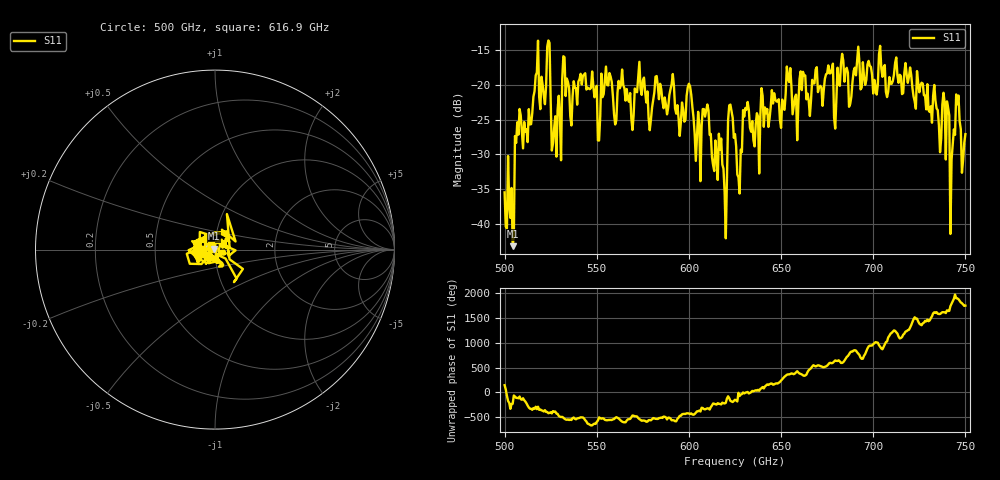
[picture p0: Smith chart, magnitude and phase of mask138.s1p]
!Created with skrf (http://scikit-rf.org).
# GHz S MA R 50.0
!freq magS11 angS11
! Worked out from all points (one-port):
!   401 points, 500 GHz to 750 GHz, reference 50 ohm
!   lowest |S11| = -43.2 dB at 504.4 GHz (marker M1), VSWR 1.01, Z = 49.6 + j0.52 ohm
!   |S11| at or under -10 dB: start of sweep to end of sweep
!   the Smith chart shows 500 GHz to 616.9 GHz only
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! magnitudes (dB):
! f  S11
! 500 GHz  -35.5
! 504.4 GHz  -43.2
! 506.9 GHz  -25.4
! 513.8 GHz  -25.7
! 516.9 GHz  -18.6
! 523.8 GHz  -13.6
! 526.9 GHz  -26.2
! 531.2 GHz  -19.2
! 542.5 GHz  -18.7
! 550.6 GHz  -28.0
! 562.5 GHz  -20.5
! 593.8 GHz  -22.9
! 600 GHz  -19.8
! 605 GHz  -23.9
! 609.4 GHz  -23.7
! 619.4 GHz  -35.5
! 622.5 GHz  -22.8
! 625 GHz  -27.1
! 627.5 GHz  -35.7
! 630.6 GHz  -23.3
! 636.9 GHz  -24.1
! 656.2 GHz  -24.2
! 687.5 GHz  -22.7
! 718.8 GHz  -19.7
! 739.4 GHz  -30.7
! 743.1 GHz  -28.5
! 745 GHz  -21.4
! 750 GHz  -27.1
